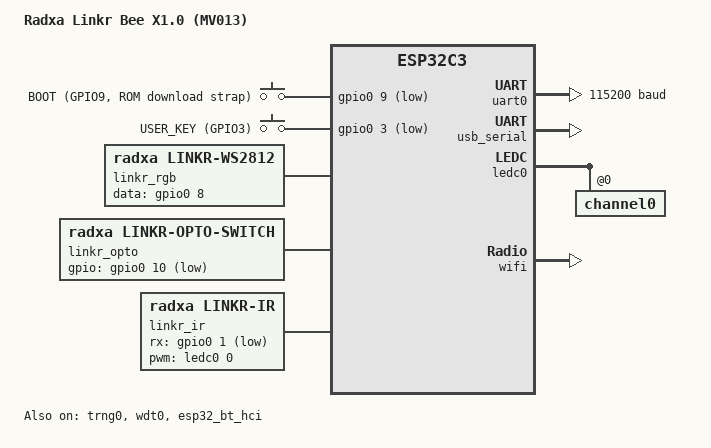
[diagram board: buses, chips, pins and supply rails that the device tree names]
/*
 * Linkr Bee X1.0 (MV013) — ESP32-C3FH4 + USB-C + target UART header.
 *
 * Hardware facts taken from the MV013 "Linkr Bee X1.0" schematic (radxa,
 * rev X1.00). Only the pins the firmware drives are described here; see
 * docs/BEE_X1.0_HARDWARE.md for the full board map.
 *
 * SPDX-License-Identifier: Apache-2.0
 */

/dts-v1/;

#include <espressif/esp32c3/esp32c3.dtsi>
#include "linkr_bee_x1_0-pinctrl.dtsi"
#include <zephyr/dt-bindings/input/input-event-codes.h>
#include <zephyr/dt-bindings/pwm/pwm.h>
#include <espressif/partitions_0x0_default.dtsi>

/ {
	model = "Radxa Linkr Bee X1.0 (MV013)";
	compatible = "radxa,linkr-bee-x1-0", "espressif,esp32c3";

	chosen {
		zephyr,sram = &sram1;
		/* USB-C is the only console path: J7 pin 1/2 are the bridge UART. */
		zephyr,console = &usb_serial;
		zephyr,shell-uart = &usb_serial;
		zephyr,flash = &flash0;
		zephyr,code-partition = &slot0_partition;
		zephyr,bt-hci = &esp32_bt_hci;
	};

	aliases {
		watchdog0 = &wdt0;
		linkr-rgb = &linkr_rgb;
		linkr-opto = &linkr_opto;
		linkr-ir = &linkr_ir;
	};

	gpio_keys {
		compatible = "gpio-keys";

		/* S1 on GPIO9 is the ROM download strap. It has no external
		 * pull-up (R3 is not fitted); the internal one is applied by
		 * the bootloader, so never tie this pin low at reset. */
		boot_button: button_boot {
			label = "BOOT (GPIO9, ROM download strap)";
			gpios = <&gpio0 9 (GPIO_PULL_UP | GPIO_ACTIVE_LOW)>;
			zephyr,code = <INPUT_KEY_0>;
		};

		/* SW1 on GPIO3: the only general-purpose key on the board. */
		user_button: button_user {
			label = "USER_KEY (GPIO3)";
			gpios = <&gpio0 3 (GPIO_PULL_UP | GPIO_ACTIVE_LOW)>;
			zephyr,code = <INPUT_KEY_1>;
		};
	};

	/* U1 EY-PB1615RGBIC-010F: single-wire addressable RGB status LED.
	 *
	 * Board caveat: C31 (100 nF) is drawn across this data line, which is
	 * far too much capacitance for the ~800 kHz waveform. The schematic
	 * has to drop or not fit C31 for the LED to work; the driver cannot
	 * compensate for it.
	 */
	linkr_rgb: linkr-rgb {
		compatible = "radxa,linkr-ws2812";
		data-gpios = <&gpio0 8 GPIO_ACTIVE_HIGH>;
		chain-length = <1>;
		/* Everlight RGBIC parts use the WS2812 GRB ordering. */
		color-order = "GRB";
		status = "okay";
	};

	/* Q1 HT_354_ATP1 optocoupler: the LED (anode to +3V3 via R13) is driven
	 * by GPIO10 low, and its output transistor is wired straight across J5
	 * pins 1-2. So GPIO10 low closes an isolated dry contact. */
	linkr_opto: linkr-opto {
		compatible = "radxa,linkr-opto-switch";
		gpios = <&gpio0 10 GPIO_ACTIVE_LOW>;
		status = "okay";
	};

	/* D7 IR LED (IR19-315C/TR8) via Q2 on GPIO0; IRM_V538M3 38 kHz
	 * demodulator output on GPIO1 (idle high, low while a mark is
	 * received). The IR carrier is LEDC channel 0 on the same GPIO0. */
	linkr_ir: linkr-ir {
		compatible = "radxa,linkr-ir";
		pwms = <&ledc0 0 PWM_HZ(38000) PWM_POLARITY_NORMAL>;
		rx-gpios = <&gpio0 1 (GPIO_PULL_UP | GPIO_ACTIVE_LOW)>;
		status = "okay";
	};
};

&flash0 {
	reg = <0x0 DT_SIZE_M(4)>;
	ranges = <0x0 0x0 DT_SIZE_M(4)>;
};

&uart0 {
	status = "okay";
	current-speed = <115200>;
	pinctrl-0 = <&uart0_default>;
	pinctrl-names = "default";
};

&usb_serial {
	status = "okay";
};

&trng0 {
	status = "okay";
};

&ledc0 {
	status = "okay";
	pinctrl-0 = <&ledc0_default>;
	pinctrl-names = "default";
	#address-cells = <1>;
	#size-cells = <0>;

	channel0@0 {
		reg = <0x0>;
		timer = <0>;
	};
};

&gpio0 {
	status = "okay";
};

&wdt0 {
	status = "okay";
};

&timer0 {
	status = "disabled";
};

&timer1 {
	status = "disabled";
};

&esp32_bt_hci {
	status = "okay";
};

&wifi {
	status = "okay";
};
